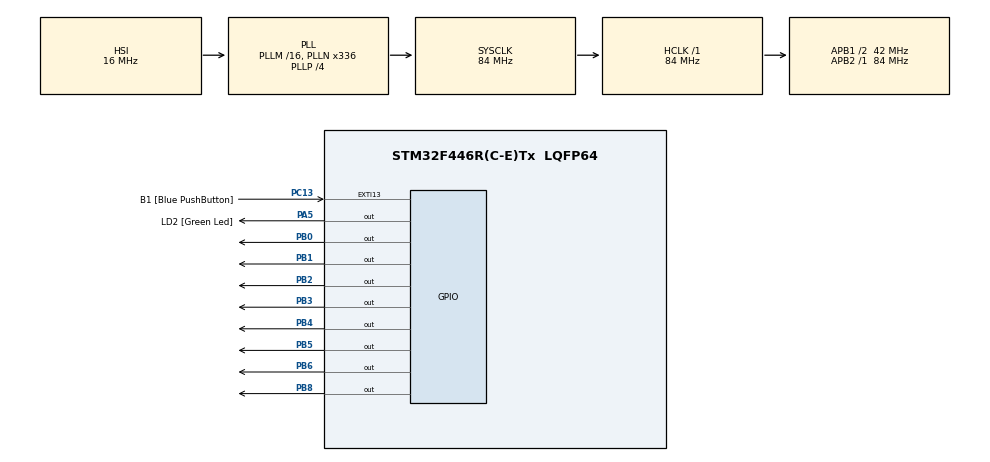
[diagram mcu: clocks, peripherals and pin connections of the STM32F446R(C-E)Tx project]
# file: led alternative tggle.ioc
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Mcu.Family=STM32F4
Mcu.Name=STM32F446R(C-E)Tx
Mcu.Package=LQFP64
NVIC.PriorityGroup=NVIC_PRIORITYGROUP_0
PA13.GPIO_Label=TMS
PA13.Signal=SYS_JTMS-SWDIO
PA14.GPIO_Label=TCK
PA14.Signal=SYS_JTCK-SWCLK
PA2.GPIO_Label=USART_TX
PA2.Signal=USART2_TX
PA3.GPIO_Label=USART_RX
PA3.Signal=USART2_RX
PA5.GPIO_Label=LD2 [Green Led]
PA5.Signal=GPIO_Output
PB0.Signal=GPIO_Output
PB1.Signal=GPIO_Output
PB2.Signal=GPIO_Output
PB3.Signal=GPIO_Output
PB4.Signal=GPIO_Output
PB5.Signal=GPIO_Output
PB6.Signal=GPIO_Output
PB8.Signal=GPIO_Output
PC13.GPIO_Label=B1 [Blue PushButton]
PC13.GPIO_ModeDefaultEXTI=GPIO_MODE_IT_FALLING
PC13.Signal=GPXTI13
PC14-OSC32_IN.Signal=RCC_OSC32_IN
PC15-OSC32_OUT.Signal=RCC_OSC32_OUT
PH0-OSC_IN.Signal=RCC_OSC_IN
PH1-OSC_OUT.Signal=RCC_OSC_OUT
ProjectManager.HeapSize=0x200
ProjectManager.StackSize=0x400
ProjectManager.TargetToolchain=STM32CubeIDE
RCC.AHBFreq_Value=84000000
RCC.APB1CLKDivider=RCC_HCLK_DIV2
RCC.APB1Freq_Value=42000000
RCC.APB1TimFreq_Value=84000000
RCC.APB2Freq_Value=84000000
RCC.APB2TimFreq_Value=84000000
RCC.CortexFreq_Value=84000000
RCC.FLatency-AdvancedSettings=FLASH_LATENCY_2
RCC.HCLKFreq_Value=84000000
RCC.HSE_VALUE=8000000
RCC.HSI_VALUE=16000000
RCC.LSE_VALUE=32768
RCC.PLLN=336
RCC.PLLP=RCC_PLLP_DIV4
RCC.SYSCLKFreq_VALUE=84000000
RCC.SYSCLKSource=RCC_SYSCLKSOURCE_PLLCLK
RCC.USBFreq_Value=168000000
RCC.VCOOutputFreq_Value=336000000
board=NUCLEO-F446RE

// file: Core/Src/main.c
/* USER CODE BEGIN Header */
/**
  ******************************************************************************
  * @file           : main.c
  * @brief          : Main program body
  ******************************************************************************
  * @attention
  *
  * Copyright (c) 2024 STMicroelectronics.
  * All rights reserved.
  *
  * This software is licensed under terms that can be found in the LICENSE file
  * in the root directory of this software component.
  * If no LICENSE file comes with this software, it is provided AS-IS.
  *
  ******************************************************************************
  */
/* USER CODE END Header */
#include "main.h"

void SystemClock_Config(void);
static void MX_GPIO_Init(void);

int main(void)
{

  /* MCU Configuration--------------------------------------------------------*/

  /* Reset of all peripherals, Initializes the Flash interface and the Systick. */
  HAL_Init();

  /* Configure the system clock */
  SystemClock_Config();

  /* Initialize all configured peripherals */
  MX_GPIO_Init();

  /* Infinite loop */
  while (1)
  {

    /* USER CODE BEGIN 3 */
	  HAL_GPIO_TogglePin(GPIOB,GPIO_PIN_0);
	 			  HAL_Delay (200);
	 	  HAL_GPIO_TogglePin(GPIOB,GPIO_PIN_1);
	 	          HAL_Delay(200);
	 	  HAL_GPIO_TogglePin(GPIOB,GPIO_PIN_2);
	 	          HAL_Delay (200);
	 	  HAL_GPIO_TogglePin(GPIOB,GPIO_PIN_3);
	 	          HAL_Delay (200);
	 	         HAL_GPIO_TogglePin(GPIOB,GPIO_PIN_4);
	 	       	 			  HAL_Delay (200);
	 	       	 	  HAL_GPIO_TogglePin(GPIOB,GPIO_PIN_5);
	 	       	 	          HAL_Delay(200);
	 	       	 	  HAL_GPIO_TogglePin(GPIOB,GPIO_PIN_6);
	 	       	 	          HAL_Delay (200);
	 	       	 	  HAL_GPIO_TogglePin(GPIOB,GPIO_PIN_8);
	 	       	 	          HAL_Delay (200);
  }
  /* USER CODE END 3 */
}

void SystemClock_Config(void)
{
  RCC_OscInitTypeDef RCC_OscInitStruct = {0};
  RCC_ClkInitTypeDef RCC_ClkInitStruct = {0};

  /** Configure the main internal regulator output voltage
  */
  __HAL_RCC_PWR_CLK_ENABLE();
  __HAL_PWR_VOLTAGESCALING_CONFIG(PWR_REGULATOR_VOLTAGE_SCALE3);

  /** Initializes the RCC Oscillators according to the specified parameters
  * in the RCC_OscInitTypeDef structure.
  */
  RCC_OscInitStruct.OscillatorType = RCC_OSCILLATORTYPE_HSI;
  RCC_OscInitStruct.HSIState = RCC_HSI_ON;
  RCC_OscInitStruct.HSICalibrationValue = RCC_HSICALIBRATION_DEFAULT;
  RCC_OscInitStruct.PLL.PLLState = RCC_PLL_ON;
  RCC_OscInitStruct.PLL.PLLSource = RCC_PLLSOURCE_HSI;
  RCC_OscInitStruct.PLL.PLLM = 16;
  RCC_OscInitStruct.PLL.PLLN = 336;
  RCC_OscInitStruct.PLL.PLLP = RCC_PLLP_DIV4;
  RCC_OscInitStruct.PLL.PLLQ = 2;
  RCC_OscInitStruct.PLL.PLLR = 2;
  if (HAL_RCC_OscConfig(&RCC_OscInitStruct) != HAL_OK)
  {
    Error_Handler();
  }

  /** Initializes the CPU, AHB and APB buses clocks
  */
  RCC_ClkInitStruct.ClockType = RCC_CLOCKTYPE_HCLK|RCC_CLOCKTYPE_SYSCLK
                              |RCC_CLOCKTYPE_PCLK1|RCC_CLOCKTYPE_PCLK2;
  RCC_ClkInitStruct.SYSCLKSource = RCC_SYSCLKSOURCE_PLLCLK;
  RCC_ClkInitStruct.AHBCLKDivider = RCC_SYSCLK_DIV1;
  RCC_ClkInitStruct.APB1CLKDivider = RCC_HCLK_DIV2;
  RCC_ClkInitStruct.APB2CLKDivider = RCC_HCLK_DIV1;

  if (HAL_RCC_ClockConfig(&RCC_ClkInitStruct, FLASH_LATENCY_2) != HAL_OK)
  {
    Error_Handler();
  }
}

static void MX_GPIO_Init(void)
{
  GPIO_InitTypeDef GPIO_InitStruct = {0};

  /* GPIO Ports Clock Enable */
  __HAL_RCC_GPIOC_CLK_ENABLE();
  __HAL_RCC_GPIOH_CLK_ENABLE();
  __HAL_RCC_GPIOA_CLK_ENABLE();
  __HAL_RCC_GPIOB_CLK_ENABLE();

  /*Configure GPIO pin Output Level */
  HAL_GPIO_WritePin(LD2_GPIO_Port, LD2_Pin, GPIO_PIN_RESET);

  /*Configure GPIO pin Output Level */
  HAL_GPIO_WritePin(GPIOB, GPIO_PIN_0|GPIO_PIN_1|GPIO_PIN_2|GPIO_PIN_3
                          |GPIO_PIN_4|GPIO_PIN_5|GPIO_PIN_6|GPIO_PIN_8, GPIO_PIN_RESET);

  /*Configure GPIO pin : B1_Pin */
  GPIO_InitStruct.Pin = B1_Pin;
  GPIO_InitStruct.Mode = GPIO_MODE_IT_FALLING;
  GPIO_InitStruct.Pull = GPIO_NOPULL;
  HAL_GPIO_Init(B1_GPIO_Port, &GPIO_InitStruct);

  /*Configure GPIO pins : USART_TX_Pin USART_RX_Pin */
  GPIO_InitStruct.Pin = USART_TX_Pin|USART_RX_Pin;
  GPIO_InitStruct.Mode = GPIO_MODE_AF_PP;
  GPIO_InitStruct.Pull = GPIO_NOPULL;
  GPIO_InitStruct.Speed = GPIO_SPEED_FREQ_VERY_HIGH;
  GPIO_InitStruct.Alternate = GPIO_AF7_USART2;
  HAL_GPIO_Init(GPIOA, &GPIO_InitStruct);

  /*Configure GPIO pin : LD2_Pin */
  GPIO_InitStruct.Pin = LD2_Pin;
  GPIO_InitStruct.Mode = GPIO_MODE_OUTPUT_PP;
  GPIO_InitStruct.Pull = GPIO_NOPULL;
  GPIO_InitStruct.Speed = GPIO_SPEED_FREQ_LOW;
  HAL_GPIO_Init(LD2_GPIO_Port, &GPIO_InitStruct);

  /*Configure GPIO pins : PB0 PB1 PB2 PB3
                           PB4 PB5 PB6 PB8 */
  GPIO_InitStruct.Pin = GPIO_PIN_0|GPIO_PIN_1|GPIO_PIN_2|GPIO_PIN_3
                          |GPIO_PIN_4|GPIO_PIN_5|GPIO_PIN_6|GPIO_PIN_8;
  GPIO_InitStruct.Mode = GPIO_MODE_OUTPUT_PP;
  GPIO_InitStruct.Pull = GPIO_NOPULL;
  GPIO_InitStruct.Speed = GPIO_SPEED_FREQ_LOW;
  HAL_GPIO_Init(GPIOB, &GPIO_InitStruct);

}

void Error_Handler(void)
{
  __disable_irq();
  while (1)
  {
  }
}
